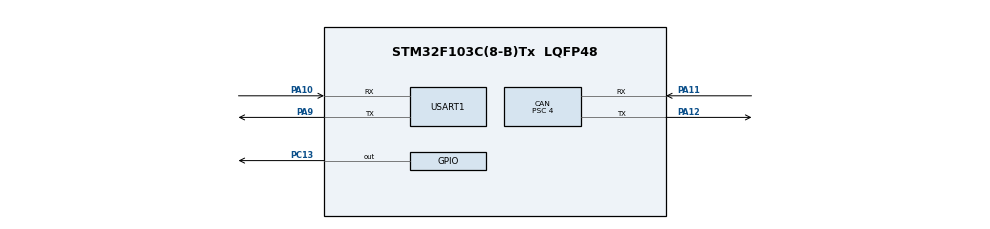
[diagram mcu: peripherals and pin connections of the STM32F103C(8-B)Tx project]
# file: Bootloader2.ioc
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CAN.BS1=CAN_BS1_2TQ
CAN.CalculateBaudRate=500000
CAN.CalculateTimeBit=2000
CAN.CalculateTimeQuantum=500.0
CAN.Prescaler=4
Mcu.Family=STM32F1
Mcu.Name=STM32F103C(8-B)Tx
Mcu.Package=LQFP48
NVIC.CAN1_RX1_IRQn=true\:0\:0\:false\:false\:true\:true\:true\:true
NVIC.PriorityGroup=NVIC_PRIORITYGROUP_4
PA10.Mode=Asynchronous
PA10.Signal=USART1_RX
PA11.Mode=CAN_Activate
PA11.Signal=CAN_RX
PA12.Mode=CAN_Activate
PA12.Signal=CAN_TX
PA13.Mode=Serial_Wire
PA13.Signal=SYS_JTMS-SWDIO
PA14.Mode=Serial_Wire
PA14.Signal=SYS_JTCK-SWCLK
PA9.Mode=Asynchronous
PA9.Signal=USART1_TX
PC13-TAMPER-RTC.Signal=GPIO_Output
ProjectManager.HeapSize=0x200
ProjectManager.StackSize=0x400
ProjectManager.TargetToolchain=STM32CubeIDE
RCC.APB1Freq_Value=8000000
RCC.APB2Freq_Value=8000000
RCC.SYSCLKSource=RCC_SYSCLKSOURCE_PLLCLK
USART1.VirtualMode=VM_ASYNC
board=custom

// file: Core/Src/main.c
/* USER CODE BEGIN Header */
/* USER CODE END Header */
#include "main.h"

/* USER CODE BEGIN Includes */
#include "stdio.h"
#include <stdio.h>
#include <string.h>
#include <stdbool.h>
CAN_FilterTypeDef canfil; //CAN Bus Filter
/* USER CODE END Includes */

/* USER CODE BEGIN PD */
#define MAX_BLOCK_SIZE          ( 1024 )                  //1KB
#define ETX_APP_START_ADDRESS   0x08004400
/* USER CODE END PD */

CAN_HandleTypeDef hcan;

UART_HandleTypeDef huart1;

void SystemClock_Config(void);
static void MX_GPIO_Init(void);
static void MX_USART1_UART_Init(void);
static void MX_CAN_Init(void);
/* USER CODE BEGIN PFP */
#define MY_NAME 0x88U //
#define LOADER_NAME 0x88U // SENDER FROM

#define FLASH_START_ADDRESS ETX_APP_START_ADDRESS
#define PAGE_SIZE 1024U
#define BOOTLOADER_PAGES_NUMBER 8U
#define START_PAGE_ADRESS (FLASH_START_ADDRESS + BOOTLOADER_PAGES_NUMBER * PAGE_SIZE)
#define FLASH_PAGES_NUMBER 64U

enum commands {
	nothing, jump, erase, flash, test, loader
};

#ifdef __GNUC__
/* With GCC, small printf (option LD Linker->Libraries->Small printf
 set to 'Yes') calls __io_putchar() */
int __io_putchar(int ch)
#else
int fputc(int ch, FILE *f)
#endif /* __GNUC__ */
{
	/* Place your implementation of fputc here */
	/* e.g. write a character to the UART3 and Loop until the end of transmission */
	HAL_UART_Transmit(&huart1, (uint8_t*) &ch, 1, HAL_MAX_DELAY);

	return ch;
}
static void goto_application(void) {
	printf("Gonna Jump to Application...\n");
	void (*app_reset_handler)(
			void) = (void*)(*((volatile uint32_t*)(ETX_APP_START_ADDRESS + 4U)));

	if (app_reset_handler == (void*) 0xFFFFFFFF) {
		printf("Invalid Application... HALT!!!\r\n");
		while (1)
			;
	}

	__set_MSP(*(volatile uint32_t*) ETX_APP_START_ADDRESS);
	app_reset_handler();    //call the app reset handler
}

void CAN_Filter_Config(CAN_FilterTypeDef *canfil) {
	/* USER CODE BEGIN 2 */
	canfil->FilterBank = 0;
	canfil->FilterMode = CAN_FILTERMODE_IDMASK;
	canfil->FilterFIFOAssignment = CAN_RX_FIFO0;
	canfil->FilterIdHigh = 0;
	canfil->FilterIdLow = 0;
	canfil->FilterMaskIdHigh = 0;
	canfil->FilterMaskIdLow = 0;
	canfil->FilterScale = CAN_FILTERSCALE_32BIT;
	canfil->FilterActivation = ENABLE;
	canfil->SlaveStartFilterBank = 14;
}

uint32_t CAN_FLASH_PROGRAM(uint32_t byteAddress, uint8_t data[8]) {
	//
	//We have to unlock flash module to get control of registers
	HAL_FLASH_Unlock();
	if (HAL_FLASH_Program(FLASH_TYPEPROGRAM_DOUBLEWORD, byteAddress,
			*((uint64_t*) data)) == HAL_OK) {
		byteAddress += 8U; // 8 bo ładujemy od razu po dwa słowa - tyle mieści się w ramce cana
		// tutaj powinno się jeszcze znaleźć sprawdzanie czy nie piszemy po pamięci
	} else {
		Error_Handler();
	}
	// LOCK THE MEMORY FOR NOT BEEN CORRUPT
	HAL_FLASH_Lock();
	return byteAddress;
}

/* USER CODE END PFP */

int main(void) {

	/* MCU Configuration--------------------------------------------------------*/

	/* Reset of all peripherals, Initializes the Flash interface and the Systick. */
	HAL_Init();

	/* Configure the system clock */
	SystemClock_Config();

	/* Initialize all configured peripherals */
	MX_GPIO_Init();
	MX_USART1_UART_Init();
	MX_CAN_Init();
	/* USER CODE BEGIN 2 */

	CAN_Filter_Config(&canfil);
	// blue pill led pin (PC13) is used to indicate that loader is working, not necessary

	HAL_FLASH_Unlock();

	HAL_Delay(2000U);
	/* USER CODE END 2 */

	/* Infinite loop */
	/* USER CODE BEGIN WHILE */

	CAN_RxHeaderTypeDef rxHeader;
	CAN_TxHeaderTypeDef txHeader;
	uint8_t data[8];
	uint32_t _; // na śmieci
	uint32_t byteAddress = FLASH_START_ADDRESS;

	txHeader.StdId = 11;
	txHeader.RTR = 1;
	txHeader.IDE = 0;

//	CAN1->MCR ^= CAN_MCR_INRQ;
	HAL_CAN_ConfigFilter(&hcan, &canfil);
	HAL_CAN_Start(&hcan);
	HAL_CAN_ActivateNotification(&hcan, CAN_IT_RX_FIFO0_MSG_PENDING);

	txHeader.StdId = LOADER_NAME;
	txHeader.DLC = 0U;
	txHeader.IDE = 0U;
	HAL_CAN_AddTxMessage(&hcan, &txHeader, data, &_);
	printf("normal test start \n");
	// waiting for answer
	HAL_Delay(1000U);

	if (((HAL_CAN_GetRxMessage(&hcan, CAN_RX_FIFO0, &rxHeader, data) == HAL_OK)
			&& rxHeader.StdId == ((MY_NAME << (11U - 8U)) | loader))
			|| (*(uint32_t*) (START_PAGE_ADRESS) != 0x20005000U)) {
		while (1) {
			if (HAL_CAN_GetRxFifoFillLevel(&hcan, CAN_RX_FIFO0) > 0) {

				if (HAL_CAN_GetRxMessage(&hcan, CAN_RX_FIFO0, &rxHeader, data)
						== HAL_OK) {
//			 FOR  JUMP TO THE APPLICATION CODE
					if (rxHeader.StdId == ((MY_NAME << (11U - 8U)) | jump)) {
//						jumpToApp();
						printf("jump to app \n");
						goto_application();

					}

//	 ERASE THE CODE
					if (rxHeader.StdId == ((MY_NAME << (11U - 8U)) | erase)) {

						printf("erase is doing \n");
						printf("Erasing the Flash memory...\r\n");
						HAL_StatusTypeDef ret;

						FLASH_EraseInitTypeDef EraseInitStruct;
						uint32_t SectorError;

						EraseInitStruct.TypeErase = FLASH_TYPEERASE_PAGES;
						EraseInitStruct.PageAddress = ETX_APP_START_ADDRESS;
						EraseInitStruct.NbPages = 47;                 //47 Pages
						HAL_FLASH_Unlock();
						ret = HAL_FLASHEx_Erase(&EraseInitStruct, &SectorError);
						if (ret != HAL_OK) {
							break;
						}
//
						HAL_FLASH_Lock();
					}

//				RECEIVING THE CAN ID FROM ALONG WITH THE DATA FROM THE PCAN USB
					if (rxHeader.StdId == ((MY_NAME << (11U - 8U)) | flash)) {
						printf("FLASING is doing \n");
						byteAddress = CAN_FLASH_PROGRAM(byteAddress, data);
					}

//					 TESTING THE CAN ID WHETHER IT IS WORKING OR NOT

					if (rxHeader.StdId == ((MY_NAME << (11U - 8U)) | test)) {
						printf("testing is doing \n");
						HAL_CAN_AddTxMessage(&hcan, &txHeader, data, &_);
					}

				} else
					printf("normal test end \n");

				HAL_CAN_AddTxMessage(&hcan, &txHeader, data, &_);
			}
			/* USER CODE END WHILE */

			/* USER CODE BEGIN 3 */
		}
	}
	else {
		printf("jump to app last");

		goto_application();
	}
//
	/* USER CODE END 2 */

	/* USER CODE BEGIN 3 */
	/* USER CODE END 3 */
}

void SystemClock_Config(void) {
	RCC_OscInitTypeDef RCC_OscInitStruct = { 0 };
	RCC_ClkInitTypeDef RCC_ClkInitStruct = { 0 };

	/** Initializes the RCC Oscillators according to the specified parameters
	 * in the RCC_OscInitTypeDef structure.
	 */
	RCC_OscInitStruct.OscillatorType = RCC_OSCILLATORTYPE_HSI;
	RCC_OscInitStruct.HSIState = RCC_HSI_ON;
	RCC_OscInitStruct.HSICalibrationValue = RCC_HSICALIBRATION_DEFAULT;
	RCC_OscInitStruct.PLL.PLLState = RCC_PLL_ON;
	RCC_OscInitStruct.PLL.PLLSource = RCC_PLLSOURCE_HSI_DIV2;
	RCC_OscInitStruct.PLL.PLLMUL = RCC_PLL_MUL2;
	if (HAL_RCC_OscConfig(&RCC_OscInitStruct) != HAL_OK) {
		Error_Handler();
	}

	/** Initializes the CPU, AHB and APB buses clocks
	 */
	RCC_ClkInitStruct.ClockType = RCC_CLOCKTYPE_HCLK | RCC_CLOCKTYPE_SYSCLK
			| RCC_CLOCKTYPE_PCLK1 | RCC_CLOCKTYPE_PCLK2;
	RCC_ClkInitStruct.SYSCLKSource = RCC_SYSCLKSOURCE_PLLCLK;
	RCC_ClkInitStruct.AHBCLKDivider = RCC_SYSCLK_DIV1;
	RCC_ClkInitStruct.APB1CLKDivider = RCC_HCLK_DIV1;
	RCC_ClkInitStruct.APB2CLKDivider = RCC_HCLK_DIV1;

	if (HAL_RCC_ClockConfig(&RCC_ClkInitStruct, FLASH_LATENCY_0) != HAL_OK) {
		Error_Handler();
	}
}

static void MX_CAN_Init(void) {

	hcan.Instance = CAN1;
	hcan.Init.Prescaler = 4;
	hcan.Init.Mode = CAN_MODE_NORMAL;
	hcan.Init.SyncJumpWidth = CAN_SJW_1TQ;
	hcan.Init.TimeSeg1 = CAN_BS1_2TQ;
	hcan.Init.TimeSeg2 = CAN_BS2_1TQ;
	hcan.Init.TimeTriggeredMode = DISABLE;
	hcan.Init.AutoBusOff = DISABLE;
	hcan.Init.AutoWakeUp = DISABLE;
	hcan.Init.AutoRetransmission = DISABLE;
	hcan.Init.ReceiveFifoLocked = DISABLE;
	hcan.Init.TransmitFifoPriority = DISABLE;
	if (HAL_CAN_Init(&hcan) != HAL_OK) {
		Error_Handler();
	}

}

static void MX_USART1_UART_Init(void) {

	huart1.Instance = USART1;
	huart1.Init.BaudRate = 115200;
	huart1.Init.WordLength = UART_WORDLENGTH_8B;
	huart1.Init.StopBits = UART_STOPBITS_1;
	huart1.Init.Parity = UART_PARITY_NONE;
	huart1.Init.Mode = UART_MODE_TX_RX;
	huart1.Init.HwFlowCtl = UART_HWCONTROL_NONE;
	huart1.Init.OverSampling = UART_OVERSAMPLING_16;
	if (HAL_UART_Init(&huart1) != HAL_OK) {
		Error_Handler();
	}

}

static void MX_GPIO_Init(void) {
	GPIO_InitTypeDef GPIO_InitStruct = { 0 };

	/* GPIO Ports Clock Enable */
	__HAL_RCC_GPIOC_CLK_ENABLE();
	__HAL_RCC_GPIOA_CLK_ENABLE();

	/*Configure GPIO pin Output Level */
	HAL_GPIO_WritePin(GPIOC, GPIO_PIN_13, GPIO_PIN_RESET);

	/*Configure GPIO pin : PC13 */
	GPIO_InitStruct.Pin = GPIO_PIN_13;
	GPIO_InitStruct.Mode = GPIO_MODE_OUTPUT_PP;
	GPIO_InitStruct.Pull = GPIO_NOPULL;
	GPIO_InitStruct.Speed = GPIO_SPEED_FREQ_LOW;
	HAL_GPIO_Init(GPIOC, &GPIO_InitStruct);

}

void Error_Handler(void) {
}
